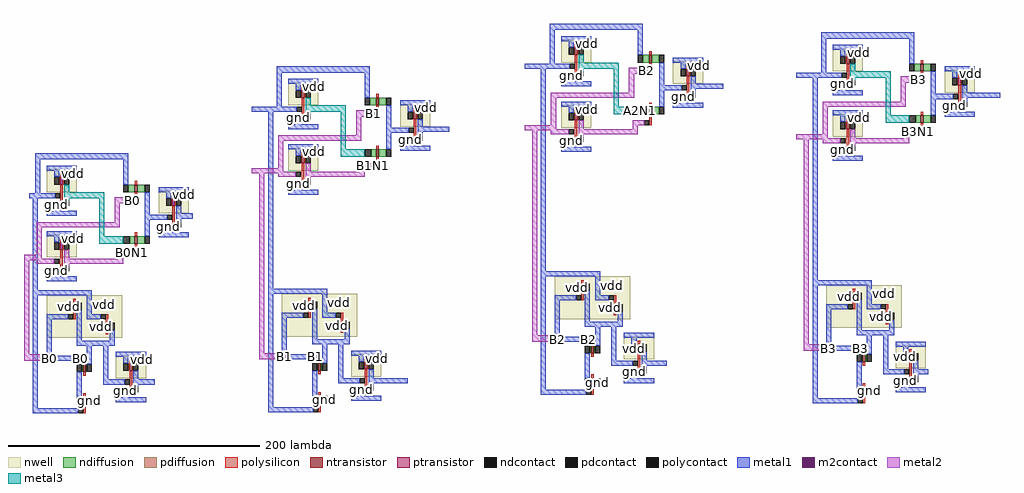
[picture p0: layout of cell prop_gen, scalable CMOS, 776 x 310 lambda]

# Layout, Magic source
magic
tech scmos
<< nwell >>
rect 1211 62 1235 80
rect 994 28 1018 46
rect 1300 45 1324 63
rect 1427 55 1451 73
rect 1516 38 1540 56
rect 1083 11 1107 29
rect 1211 10 1235 28
rect 1427 3 1451 21
rect 802 -41 826 -23
rect 994 -24 1018 -6
rect 891 -58 915 -40
rect 802 -93 826 -75
rect 802 -157 862 -123
rect 989 -156 1049 -122
rect 1206 -142 1266 -108
rect 1422 -149 1482 -115
rect 857 -189 881 -171
rect 1044 -188 1068 -170
rect 1261 -174 1285 -156
rect 1477 -181 1501 -163
<< ntransistor >>
rect 1281 62 1283 68
rect 1222 51 1224 54
rect 1497 55 1499 61
rect 1438 44 1440 47
rect 1064 28 1066 34
rect 1311 34 1313 37
rect 1005 17 1007 20
rect 1281 21 1283 27
rect 1527 27 1529 30
rect 1497 14 1499 20
rect 1094 0 1096 3
rect 1222 -1 1224 2
rect 1064 -13 1066 -7
rect 1438 -8 1440 -5
rect 872 -41 874 -35
rect 1005 -35 1007 -32
rect 813 -52 815 -49
rect 902 -69 904 -66
rect 872 -82 874 -76
rect 813 -104 815 -101
rect 1235 -169 1237 -163
rect 831 -184 833 -178
rect 1018 -183 1020 -177
rect 1451 -176 1453 -170
rect 1272 -185 1274 -182
rect 1235 -195 1237 -189
rect 1488 -192 1490 -189
rect 868 -200 870 -197
rect 1055 -199 1057 -196
rect 1451 -202 1453 -196
rect 831 -210 833 -204
rect 1018 -209 1020 -203
<< ptransistor >>
rect 1222 68 1224 74
rect 1438 61 1440 67
rect 1311 51 1313 57
rect 1005 34 1007 40
rect 1527 44 1529 50
rect 1094 17 1096 23
rect 1222 16 1224 22
rect 1438 9 1440 15
rect 1005 -18 1007 -12
rect 813 -35 815 -29
rect 902 -52 904 -46
rect 813 -87 815 -81
rect 1227 -120 1229 -114
rect 823 -135 825 -129
rect 1010 -134 1012 -128
rect 1443 -127 1445 -121
rect 1253 -136 1255 -130
rect 1469 -143 1471 -137
rect 849 -151 851 -145
rect 1036 -150 1038 -144
rect 1272 -168 1274 -162
rect 868 -183 870 -177
rect 1055 -182 1057 -176
rect 1488 -175 1490 -169
<< ndiffusion >>
rect 1276 62 1281 68
rect 1283 62 1289 68
rect 1221 51 1222 54
rect 1224 51 1225 54
rect 1492 55 1497 61
rect 1499 55 1505 61
rect 1437 44 1438 47
rect 1440 44 1441 47
rect 1059 28 1064 34
rect 1066 28 1072 34
rect 1310 34 1311 37
rect 1313 34 1314 37
rect 1004 17 1005 20
rect 1007 17 1008 20
rect 1277 21 1281 27
rect 1283 21 1289 27
rect 1526 27 1527 30
rect 1529 27 1530 30
rect 1493 14 1497 20
rect 1499 14 1505 20
rect 1093 0 1094 3
rect 1096 0 1097 3
rect 1221 -1 1222 2
rect 1224 -1 1225 2
rect 1060 -13 1064 -7
rect 1066 -13 1072 -7
rect 1437 -8 1438 -5
rect 1440 -8 1441 -5
rect 867 -41 872 -35
rect 874 -41 880 -35
rect 1004 -35 1005 -32
rect 1007 -35 1008 -32
rect 812 -52 813 -49
rect 815 -52 816 -49
rect 901 -69 902 -66
rect 904 -69 905 -66
rect 868 -82 872 -76
rect 874 -82 880 -76
rect 812 -104 813 -101
rect 815 -104 816 -101
rect 1234 -169 1235 -163
rect 1237 -169 1238 -163
rect 830 -184 831 -178
rect 833 -184 834 -178
rect 1017 -183 1018 -177
rect 1020 -183 1021 -177
rect 1450 -176 1451 -170
rect 1453 -176 1454 -170
rect 1271 -185 1272 -182
rect 1274 -185 1275 -182
rect 1234 -195 1235 -189
rect 1237 -195 1238 -189
rect 1487 -192 1488 -189
rect 1490 -192 1491 -189
rect 867 -200 868 -197
rect 870 -200 871 -197
rect 1054 -199 1055 -196
rect 1057 -199 1058 -196
rect 1450 -202 1451 -196
rect 1453 -202 1454 -196
rect 830 -210 831 -204
rect 833 -210 834 -204
rect 1017 -209 1018 -203
rect 1020 -209 1021 -203
<< pdiffusion >>
rect 1221 68 1222 74
rect 1224 68 1225 74
rect 1437 61 1438 67
rect 1440 61 1441 67
rect 1310 51 1311 57
rect 1313 51 1314 57
rect 1004 34 1005 40
rect 1007 34 1008 40
rect 1526 44 1527 50
rect 1529 44 1530 50
rect 1093 17 1094 23
rect 1096 17 1097 23
rect 1221 16 1222 22
rect 1224 16 1225 22
rect 1437 9 1438 15
rect 1440 9 1441 15
rect 1004 -18 1005 -12
rect 1007 -18 1008 -12
rect 812 -35 813 -29
rect 815 -35 816 -29
rect 901 -52 902 -46
rect 904 -52 905 -46
rect 812 -87 813 -81
rect 815 -87 816 -81
rect 1226 -120 1227 -114
rect 1229 -120 1230 -114
rect 822 -135 823 -129
rect 825 -135 826 -129
rect 1009 -134 1010 -128
rect 1012 -134 1013 -128
rect 1442 -127 1443 -121
rect 1445 -127 1446 -121
rect 1252 -136 1253 -130
rect 1255 -136 1256 -130
rect 1468 -143 1469 -137
rect 1471 -143 1472 -137
rect 848 -151 849 -145
rect 851 -151 852 -145
rect 1035 -150 1036 -144
rect 1038 -150 1039 -144
rect 1271 -168 1272 -162
rect 1274 -168 1275 -162
rect 867 -183 868 -177
rect 870 -183 871 -177
rect 1054 -182 1055 -176
rect 1057 -182 1058 -176
rect 1487 -175 1488 -169
rect 1490 -175 1491 -169
<< ndcontact >>
rect 1272 62 1276 68
rect 1289 62 1293 68
rect 1217 50 1221 54
rect 1225 51 1229 55
rect 1488 55 1492 61
rect 1505 55 1509 61
rect 1433 43 1437 47
rect 1441 44 1445 48
rect 1055 28 1059 34
rect 1072 28 1076 34
rect 1306 33 1310 37
rect 1314 34 1318 38
rect 1000 16 1004 20
rect 1008 17 1012 21
rect 1272 21 1277 27
rect 1289 21 1293 27
rect 1522 26 1526 30
rect 1530 27 1534 31
rect 1488 14 1493 20
rect 1505 14 1509 20
rect 1089 -1 1093 3
rect 1097 0 1101 4
rect 1217 -2 1221 2
rect 1225 -1 1229 3
rect 1055 -13 1060 -7
rect 1072 -13 1076 -7
rect 1433 -9 1437 -5
rect 1441 -8 1445 -4
rect 863 -41 867 -35
rect 880 -41 884 -35
rect 1000 -36 1004 -32
rect 1008 -35 1012 -31
rect 808 -53 812 -49
rect 816 -52 820 -48
rect 897 -70 901 -66
rect 905 -69 909 -65
rect 863 -82 868 -76
rect 880 -82 884 -76
rect 808 -105 812 -101
rect 816 -104 820 -100
rect 1230 -169 1234 -163
rect 1238 -169 1242 -163
rect 826 -184 830 -178
rect 834 -184 838 -178
rect 1013 -183 1017 -177
rect 1021 -183 1025 -177
rect 1446 -176 1450 -170
rect 1454 -176 1458 -170
rect 1267 -186 1271 -182
rect 1275 -185 1279 -181
rect 1230 -195 1234 -189
rect 1238 -195 1242 -189
rect 1483 -193 1487 -189
rect 1491 -192 1495 -188
rect 863 -201 867 -197
rect 871 -200 875 -196
rect 1050 -200 1054 -196
rect 1058 -199 1062 -195
rect 1446 -202 1450 -196
rect 1454 -202 1458 -196
rect 826 -210 830 -204
rect 834 -210 838 -204
rect 1013 -209 1017 -203
rect 1021 -209 1025 -203
<< pdcontact >>
rect 1217 68 1221 74
rect 1225 68 1229 74
rect 1433 61 1437 67
rect 1441 61 1445 67
rect 1306 51 1310 57
rect 1314 51 1318 57
rect 1000 34 1004 40
rect 1008 34 1012 40
rect 1522 44 1526 50
rect 1530 44 1534 50
rect 1089 17 1093 23
rect 1097 17 1101 23
rect 1217 16 1221 22
rect 1225 16 1229 22
rect 1433 9 1437 15
rect 1441 9 1445 15
rect 1000 -18 1004 -12
rect 1008 -18 1012 -12
rect 808 -35 812 -29
rect 816 -35 820 -29
rect 897 -52 901 -46
rect 905 -52 909 -46
rect 808 -87 812 -81
rect 816 -87 820 -81
rect 1222 -120 1226 -114
rect 1230 -120 1234 -114
rect 818 -135 822 -129
rect 826 -135 830 -129
rect 1005 -134 1009 -128
rect 1013 -134 1017 -128
rect 1438 -127 1442 -121
rect 1446 -127 1450 -121
rect 1248 -136 1252 -130
rect 1256 -136 1260 -130
rect 1464 -143 1468 -137
rect 1472 -143 1476 -137
rect 844 -151 848 -145
rect 852 -151 856 -145
rect 1031 -150 1035 -144
rect 1039 -150 1043 -144
rect 1267 -168 1271 -162
rect 1275 -168 1279 -162
rect 863 -183 867 -177
rect 871 -183 875 -177
rect 1050 -182 1054 -176
rect 1058 -182 1062 -176
rect 1483 -175 1487 -169
rect 1491 -175 1495 -169
<< polysilicon >>
rect 1222 74 1224 77
rect 1281 68 1283 71
rect 1222 54 1224 68
rect 1438 67 1440 70
rect 1281 53 1283 62
rect 1497 61 1499 64
rect 1311 57 1313 60
rect 1222 48 1224 51
rect 1005 40 1007 43
rect 1311 37 1313 51
rect 1438 47 1440 61
rect 1497 46 1499 55
rect 1527 50 1529 53
rect 1438 41 1440 44
rect 1064 34 1066 37
rect 1005 20 1007 34
rect 1311 31 1313 34
rect 1527 30 1529 44
rect 1064 19 1066 28
rect 1281 27 1283 30
rect 1094 23 1096 26
rect 1222 22 1224 25
rect 1005 14 1007 17
rect 1094 3 1096 17
rect 1527 24 1529 27
rect 1222 9 1224 16
rect 1281 12 1283 21
rect 1497 20 1499 23
rect 1438 15 1440 18
rect 1221 5 1224 9
rect 1222 2 1224 5
rect 1094 -3 1096 0
rect 1438 2 1440 9
rect 1497 5 1499 14
rect 1222 -4 1224 -1
rect 1437 -2 1440 2
rect 1064 -7 1066 -4
rect 1438 -5 1440 -2
rect 1005 -12 1007 -9
rect 1438 -11 1440 -8
rect 1005 -25 1007 -18
rect 1064 -22 1066 -13
rect 813 -29 815 -26
rect 1004 -29 1007 -25
rect 1005 -32 1007 -29
rect 872 -35 874 -32
rect 813 -49 815 -35
rect 1005 -38 1007 -35
rect 872 -50 874 -41
rect 902 -46 904 -43
rect 813 -55 815 -52
rect 902 -66 904 -52
rect 902 -72 904 -69
rect 872 -76 874 -73
rect 813 -81 815 -78
rect 813 -94 815 -87
rect 872 -91 874 -82
rect 812 -98 815 -94
rect 813 -101 815 -98
rect 813 -107 815 -104
rect 1227 -114 1229 -111
rect 823 -129 825 -126
rect 1010 -128 1012 -125
rect 1227 -127 1229 -120
rect 1443 -121 1445 -118
rect 1253 -130 1255 -123
rect 823 -142 825 -135
rect 849 -145 851 -138
rect 1010 -141 1012 -134
rect 1443 -134 1445 -127
rect 1036 -144 1038 -137
rect 1253 -139 1255 -136
rect 1469 -137 1471 -130
rect 1469 -146 1471 -143
rect 849 -154 851 -151
rect 1036 -153 1038 -150
rect 1235 -163 1237 -156
rect 1272 -162 1274 -159
rect 831 -178 833 -171
rect 868 -177 870 -174
rect 1018 -177 1020 -170
rect 1235 -172 1237 -169
rect 1055 -176 1057 -173
rect 1272 -182 1274 -168
rect 1451 -170 1453 -163
rect 1488 -169 1490 -166
rect 1451 -179 1453 -176
rect 831 -187 833 -184
rect 868 -197 870 -183
rect 1018 -186 1020 -183
rect 1055 -196 1057 -182
rect 1235 -189 1237 -186
rect 1272 -188 1274 -185
rect 1488 -189 1490 -175
rect 831 -204 833 -201
rect 868 -203 870 -200
rect 1018 -203 1020 -200
rect 1055 -202 1057 -199
rect 1235 -202 1237 -195
rect 1451 -196 1453 -193
rect 1488 -195 1490 -192
rect 1451 -209 1453 -202
rect 831 -217 833 -210
rect 1018 -216 1020 -209
<< polycontact >>
rect 1218 57 1222 61
rect 1277 53 1281 58
rect 1307 40 1311 44
rect 1434 50 1438 54
rect 1493 46 1497 51
rect 1001 23 1005 27
rect 1523 33 1527 37
rect 1060 19 1064 24
rect 1090 6 1094 10
rect 1277 12 1281 16
rect 1217 5 1221 9
rect 1493 5 1497 9
rect 1433 -2 1437 2
rect 1060 -22 1064 -18
rect 1000 -29 1004 -25
rect 809 -46 813 -42
rect 868 -50 872 -45
rect 898 -63 902 -59
rect 868 -91 872 -87
rect 808 -98 812 -94
rect 1223 -127 1227 -123
rect 1249 -127 1253 -123
rect 819 -142 823 -138
rect 845 -142 849 -138
rect 1006 -141 1010 -137
rect 1439 -134 1443 -130
rect 1465 -134 1469 -130
rect 1032 -141 1036 -137
rect 1231 -160 1235 -156
rect 1447 -167 1451 -163
rect 827 -175 831 -171
rect 1014 -174 1018 -170
rect 1268 -179 1272 -175
rect 864 -194 868 -190
rect 1051 -193 1055 -189
rect 1484 -186 1488 -182
rect 1231 -202 1235 -198
rect 1447 -209 1451 -205
rect 827 -217 831 -213
rect 1014 -216 1018 -212
<< metal1 >>
rect 1202 88 1276 93
rect 1202 61 1206 88
rect 1211 79 1235 83
rect 1217 74 1221 79
rect 1272 68 1276 88
rect 1418 81 1492 86
rect 1300 62 1324 66
rect 985 54 1059 59
rect 1182 57 1218 61
rect 985 27 989 54
rect 994 45 1018 49
rect 1000 40 1004 45
rect 1055 34 1059 54
rect 1083 28 1107 32
rect 965 23 1001 27
rect 793 -15 867 -10
rect 793 -42 797 -15
rect 802 -24 826 -20
rect 808 -29 812 -24
rect 863 -35 867 -15
rect 891 -41 915 -37
rect 788 -46 809 -42
rect 791 -119 795 -46
rect 808 -56 812 -53
rect 802 -60 826 -56
rect 880 -59 884 -41
rect 897 -46 901 -41
rect 905 -58 909 -52
rect 880 -63 898 -59
rect 905 -62 918 -58
rect 802 -76 826 -72
rect 880 -76 884 -63
rect 905 -65 909 -62
rect 897 -73 901 -70
rect 808 -81 812 -76
rect 891 -77 915 -73
rect 808 -108 812 -105
rect 802 -112 826 -108
rect 978 -118 982 23
rect 1000 13 1004 16
rect 994 9 1018 13
rect 1072 10 1076 28
rect 1089 23 1093 28
rect 1097 11 1101 17
rect 1072 6 1090 10
rect 1097 7 1122 11
rect 994 -7 1018 -3
rect 1072 -7 1076 6
rect 1097 4 1101 7
rect 1089 -4 1093 -1
rect 1000 -12 1004 -7
rect 1083 -8 1107 -4
rect 1000 -39 1004 -36
rect 994 -43 1018 -39
rect 1195 -104 1199 57
rect 1217 47 1221 50
rect 1211 43 1235 47
rect 1289 44 1293 62
rect 1306 57 1310 62
rect 1418 54 1422 81
rect 1427 72 1451 76
rect 1433 67 1437 72
rect 1488 61 1492 81
rect 1516 55 1540 59
rect 1314 45 1318 51
rect 1398 50 1434 54
rect 1289 40 1307 44
rect 1314 41 1340 45
rect 1211 27 1235 31
rect 1289 27 1293 40
rect 1314 38 1318 41
rect 1306 30 1310 33
rect 1217 22 1221 27
rect 1300 26 1324 30
rect 1217 -5 1221 -2
rect 1211 -9 1235 -5
rect 1195 -108 1242 -104
rect 791 -123 838 -119
rect 791 -213 795 -123
rect 802 -142 819 -138
rect 802 -170 806 -142
rect 826 -159 830 -135
rect 834 -138 838 -123
rect 978 -122 1025 -118
rect 834 -142 845 -138
rect 852 -159 856 -151
rect 826 -163 856 -159
rect 807 -175 827 -171
rect 834 -178 838 -163
rect 826 -204 830 -184
rect 847 -190 851 -163
rect 857 -172 881 -168
rect 863 -177 867 -172
rect 871 -190 875 -183
rect 847 -194 864 -190
rect 871 -194 888 -190
rect 871 -196 875 -194
rect 863 -204 867 -201
rect 857 -208 881 -204
rect 978 -212 982 -122
rect 989 -141 1006 -137
rect 989 -169 993 -141
rect 1013 -158 1017 -134
rect 1021 -137 1025 -122
rect 1021 -141 1032 -137
rect 1039 -158 1043 -150
rect 1013 -162 1043 -158
rect 994 -174 1014 -170
rect 1021 -177 1025 -162
rect 1013 -203 1017 -183
rect 1034 -189 1038 -162
rect 1044 -171 1068 -167
rect 1050 -176 1054 -171
rect 1058 -189 1062 -182
rect 1034 -193 1051 -189
rect 1058 -193 1089 -189
rect 1058 -195 1062 -193
rect 1195 -198 1199 -108
rect 1206 -127 1223 -123
rect 1206 -155 1210 -127
rect 1230 -144 1234 -120
rect 1238 -123 1242 -108
rect 1411 -111 1415 50
rect 1433 40 1437 43
rect 1427 36 1451 40
rect 1505 37 1509 55
rect 1522 50 1526 55
rect 1530 38 1534 44
rect 1505 33 1523 37
rect 1530 34 1560 38
rect 1427 20 1451 24
rect 1505 20 1509 33
rect 1530 31 1534 34
rect 1522 23 1526 26
rect 1433 15 1437 20
rect 1516 19 1540 23
rect 1433 -12 1437 -9
rect 1427 -16 1451 -12
rect 1411 -115 1458 -111
rect 1238 -127 1249 -123
rect 1256 -144 1260 -136
rect 1230 -148 1260 -144
rect 1211 -160 1231 -156
rect 1238 -163 1242 -148
rect 1230 -189 1234 -169
rect 1251 -175 1255 -148
rect 1261 -157 1285 -153
rect 1267 -162 1271 -157
rect 1275 -175 1279 -168
rect 1251 -179 1268 -175
rect 1275 -179 1295 -175
rect 1275 -181 1279 -179
rect 1267 -189 1271 -186
rect 1261 -193 1285 -189
rect 1050 -203 1054 -200
rect 1195 -202 1231 -198
rect 1044 -207 1068 -203
rect 1411 -205 1415 -115
rect 1422 -134 1439 -130
rect 1422 -162 1426 -134
rect 1446 -151 1450 -127
rect 1454 -130 1458 -115
rect 1454 -134 1465 -130
rect 1472 -151 1476 -143
rect 1446 -155 1476 -151
rect 1427 -167 1447 -163
rect 1454 -170 1458 -155
rect 1446 -196 1450 -176
rect 1467 -182 1471 -155
rect 1477 -164 1501 -160
rect 1483 -169 1487 -164
rect 1491 -182 1495 -175
rect 1467 -186 1484 -182
rect 1491 -186 1503 -182
rect 1491 -188 1495 -186
rect 1483 -196 1487 -193
rect 1477 -200 1501 -196
rect 1411 -209 1447 -205
rect 791 -217 827 -213
rect 978 -216 1014 -212
<< m2contact >>
rect 802 -175 807 -170
rect 989 -174 994 -169
rect 1206 -160 1211 -155
rect 1422 -167 1427 -162
<< metal2 >>
rect 1265 53 1277 58
rect 1265 38 1269 53
rect 1203 34 1269 38
rect 1481 46 1493 51
rect 1048 19 1060 24
rect 1048 4 1052 19
rect 1203 12 1207 34
rect 1481 31 1485 46
rect 1419 27 1485 31
rect 1182 9 1207 12
rect 1225 9 1229 16
rect 1268 12 1277 16
rect 1268 9 1272 12
rect 1182 8 1217 9
rect 986 0 1052 4
rect 986 -22 990 0
rect 965 -25 990 -22
rect 1008 -25 1012 -18
rect 1051 -22 1060 -18
rect 1051 -25 1055 -22
rect 965 -26 1000 -25
rect 856 -50 868 -45
rect 856 -65 860 -50
rect 794 -69 860 -65
rect 794 -91 798 -69
rect 784 -94 798 -91
rect 816 -94 820 -87
rect 859 -91 868 -87
rect 859 -94 863 -91
rect 784 -95 808 -94
rect 784 -170 788 -95
rect 794 -98 808 -95
rect 816 -98 863 -94
rect 816 -100 820 -98
rect 971 -169 975 -26
rect 986 -29 1000 -26
rect 1008 -29 1055 -25
rect 1008 -31 1012 -29
rect 1188 -155 1192 8
rect 1203 5 1217 8
rect 1225 5 1272 9
rect 1419 5 1423 27
rect 1225 3 1229 5
rect 1398 2 1423 5
rect 1441 2 1445 9
rect 1484 5 1493 9
rect 1484 2 1488 5
rect 1398 1 1433 2
rect 1188 -160 1206 -155
rect 1404 -162 1408 1
rect 1419 -2 1433 1
rect 1441 -2 1488 2
rect 1441 -4 1445 -2
rect 1404 -167 1422 -162
rect 784 -175 802 -170
rect 971 -174 989 -169
<< metal3 >>
rect 1225 62 1229 68
rect 1225 57 1257 62
rect 1225 55 1229 57
rect 1008 28 1012 34
rect 1008 23 1040 28
rect 1008 21 1012 23
rect 1036 -7 1040 23
rect 1253 27 1257 57
rect 1441 55 1445 61
rect 1441 50 1473 55
rect 1441 48 1445 50
rect 1253 21 1272 27
rect 1469 20 1473 50
rect 1469 14 1488 20
rect 1036 -13 1055 -7
rect 816 -41 820 -35
rect 816 -46 848 -41
rect 816 -48 820 -46
rect 844 -76 848 -46
rect 844 -82 863 -76
<< labels >>
rlabel nwell 1014 42 1016 44 1 vdd
rlabel pdcontact 1000 34 1004 40 1 vdd
rlabel nwell 1014 -10 1016 -8 1 vdd
rlabel pdcontact 1000 -18 1004 -12 1 vdd
rlabel nwell 1103 25 1105 27 1 vdd
rlabel pdcontact 1089 17 1093 23 1 vdd
rlabel ndcontact 1089 -1 1093 3 1 gnd
rlabel ndcontact 1000 16 1004 20 1 gnd
rlabel ndcontact 1000 -36 1004 -32 1 gnd
rlabel polycontact 1000 -29 1004 -25 1 B1
rlabel ndcontact 1008 -35 1012 -31 1 B1N1
rlabel pdcontact 1008 -18 1012 -12 1 B1N1
rlabel polycontact 1001 23 1005 27 1 A1
rlabel ndcontact 1008 17 1012 21 1 A1N1
rlabel pdcontact 1008 34 1012 40 1 A1N1
rlabel polycontact 1060 -22 1064 -18 1 B1N1
rlabel ndcontact 1055 -13 1059 -8 1 A1N1
rlabel polycontact 1060 19 1064 24 1 B1
rlabel ndcontact 1055 28 1059 33 1 A1
rlabel ndcontact 1072 -12 1076 -8 1 X1
rlabel ndcontact 1072 29 1076 33 1 X1
rlabel polycontact 1090 6 1094 10 1 X1
rlabel pdcontact 1097 17 1101 23 1 P1
rlabel ndcontact 1097 0 1101 4 1 P1
rlabel pdcontact 1031 -150 1035 -144 1 vdd
rlabel pdcontact 1005 -134 1009 -128 1 vdd
rlabel ndcontact 1021 -209 1025 -203 1 gnd
rlabel nwell 1033 -131 1037 -127 1 vdd
rlabel nwell 1064 -174 1066 -172 1 vdd
rlabel pdcontact 1050 -182 1054 -176 1 vdd
rlabel ndcontact 1050 -200 1054 -196 1 gnd
rlabel m2contact 989 -174 993 -170 1 B1
rlabel polycontact 1014 -216 1018 -212 1 A1
rlabel polycontact 1032 -141 1036 -137 1 A1
rlabel polycontact 1014 -174 1018 -170 1 B1
rlabel polycontact 1006 -141 1010 -137 1 B1
rlabel pdcontact 1013 -133 1017 -129 1 M2
rlabel ndcontact 1021 -182 1025 -178 1 M2
rlabel pdcontact 1039 -150 1043 -146 1 M2
rlabel polycontact 1051 -193 1055 -189 1 M2
rlabel ndcontact 1013 -208 1017 -204 1 K2
rlabel ndcontact 1013 -182 1017 -178 1 K2
rlabel pdcontact 1058 -182 1062 -176 1 G1
rlabel ndcontact 1058 -199 1062 -195 1 G1
rlabel nwell 1231 76 1233 78 1 vdd
rlabel pdcontact 1217 68 1221 74 1 vdd
rlabel nwell 1231 24 1233 26 1 vdd
rlabel pdcontact 1217 16 1221 22 1 vdd
rlabel nwell 1320 59 1322 61 1 vdd
rlabel pdcontact 1306 51 1310 57 1 vdd
rlabel ndcontact 1306 33 1310 37 1 gnd
rlabel ndcontact 1217 50 1221 54 1 gnd
rlabel ndcontact 1217 -2 1221 2 1 gnd
rlabel polycontact 1217 5 1221 9 1 B2
rlabel pdcontact 1225 16 1229 22 1 B2N1
rlabel ndcontact 1225 -1 1229 3 1 B2N1
rlabel polycontact 1218 57 1222 61 1 A2
rlabel ndcontact 1225 51 1229 55 1 A2N1
rlabel pdcontact 1225 68 1229 74 1 A2N1
rlabel ndcontact 1272 21 1276 27 1 A2N1
rlabel polycontact 1277 12 1281 16 1 B2N1
rlabel polycontact 1277 53 1281 58 1 B2
rlabel ndcontact 1272 62 1276 67 1 A2
rlabel ndcontact 1289 22 1293 27 1 X2
rlabel ndcontact 1289 63 1293 68 1 X2
rlabel polycontact 1307 40 1311 44 1 X2
rlabel ndcontact 1314 34 1318 38 1 P2
rlabel pdcontact 1314 51 1318 57 1 P2
rlabel ndcontact 1267 -186 1271 -182 1 gnd
rlabel pdcontact 1267 -168 1271 -162 1 vdd
rlabel nwell 1281 -160 1283 -158 1 vdd
rlabel nwell 1250 -117 1254 -113 1 vdd
rlabel ndcontact 1238 -195 1242 -189 1 gnd
rlabel pdcontact 1222 -120 1226 -114 1 vdd
rlabel pdcontact 1248 -136 1252 -130 1 vdd
rlabel m2contact 1206 -160 1210 -156 1 B2
rlabel polycontact 1231 -160 1235 -156 1 B2
rlabel polycontact 1223 -127 1227 -123 1 B2
rlabel polycontact 1231 -202 1235 -198 1 A2
rlabel polycontact 1249 -127 1253 -123 1 A2
rlabel pdcontact 1230 -119 1234 -115 1 M3
rlabel ndcontact 1238 -168 1242 -164 1 M3
rlabel pdcontact 1256 -136 1260 -132 1 M3
rlabel polycontact 1268 -179 1272 -175 1 M3
rlabel ndcontact 1230 -168 1234 -164 1 K3
rlabel ndcontact 1230 -194 1234 -190 1 K3
rlabel ndcontact 1275 -185 1279 -181 1 G2
rlabel pdcontact 1275 -168 1279 -162 1 G2
rlabel nwell 1447 69 1449 71 1 vdd
rlabel pdcontact 1433 61 1437 67 1 vdd
rlabel nwell 1447 17 1449 19 1 vdd
rlabel pdcontact 1433 9 1437 15 1 vdd
rlabel nwell 1536 52 1538 54 1 vdd
rlabel pdcontact 1522 44 1526 50 1 vdd
rlabel ndcontact 1522 26 1526 30 1 gnd
rlabel ndcontact 1433 43 1437 47 1 gnd
rlabel ndcontact 1433 -9 1437 -5 1 gnd
rlabel ndcontact 1483 -193 1487 -189 1 gnd
rlabel pdcontact 1483 -175 1487 -169 1 vdd
rlabel nwell 1497 -167 1499 -165 1 vdd
rlabel nwell 1466 -124 1470 -120 1 vdd
rlabel ndcontact 1454 -202 1458 -196 1 gnd
rlabel pdcontact 1438 -127 1442 -121 1 vdd
rlabel pdcontact 1464 -143 1468 -137 1 vdd
rlabel polycontact 1433 -2 1437 2 1 B3
rlabel m2contact 1422 -167 1426 -163 1 B3
rlabel polycontact 1447 -167 1451 -163 1 B3
rlabel polycontact 1439 -134 1443 -130 1 B3
rlabel polycontact 1493 46 1497 51 1 B3
rlabel polycontact 1434 50 1438 54 1 A3
rlabel ndcontact 1488 55 1492 60 1 A3
rlabel polycontact 1465 -134 1469 -130 1 A3
rlabel polycontact 1447 -209 1451 -205 1 A3
rlabel pdcontact 1446 -126 1450 -122 1 M4
rlabel ndcontact 1454 -175 1458 -171 1 M4
rlabel pdcontact 1472 -143 1476 -139 1 M4
rlabel polycontact 1484 -186 1488 -182 1 M4
rlabel ndcontact 1446 -175 1450 -171 1 K4
rlabel ndcontact 1446 -201 1450 -197 1 K4
rlabel ndcontact 1491 -192 1495 -188 1 G3
rlabel pdcontact 1491 -175 1495 -169 1 G3
rlabel pdcontact 1441 9 1445 15 1 B3N1
rlabel ndcontact 1441 -8 1445 -4 1 B3N1
rlabel polycontact 1493 5 1497 9 1 B3N1
rlabel ndcontact 1441 44 1445 48 1 A3N1
rlabel pdcontact 1441 61 1445 67 1 A3N1
rlabel ndcontact 1488 14 1492 20 1 A3N1
rlabel ndcontact 1505 14 1509 20 1 X3
rlabel ndcontact 1505 55 1509 61 1 X3
rlabel polycontact 1523 33 1527 37 1 X3
rlabel ndcontact 1530 27 1534 31 1 P3
rlabel pdcontact 1530 44 1534 50 1 P3
rlabel nwell 822 -27 824 -25 1 vdd
rlabel pdcontact 808 -35 812 -29 1 vdd
rlabel nwell 822 -79 824 -77 1 vdd
rlabel pdcontact 808 -87 812 -81 1 vdd
rlabel nwell 911 -44 913 -42 1 vdd
rlabel pdcontact 897 -52 901 -46 1 vdd
rlabel ndcontact 897 -70 901 -66 1 gnd
rlabel ndcontact 808 -53 812 -49 1 gnd
rlabel ndcontact 808 -105 812 -101 1 gnd
rlabel polycontact 809 -46 813 -42 1 A0
rlabel ndcontact 816 -52 820 -48 1 A0N1
rlabel pdcontact 816 -35 820 -29 1 A0N1
rlabel polycontact 808 -98 812 -94 1 B0
rlabel ndcontact 816 -104 820 -100 1 B0N1
rlabel pdcontact 816 -87 820 -81 1 B0N1
rlabel polycontact 868 -91 872 -87 1 B0N1
rlabel ndcontact 863 -82 867 -77 1 A0N1
rlabel polycontact 868 -50 872 -45 1 B0
rlabel ndcontact 863 -41 867 -36 1 A0
rlabel ndcontact 880 -40 884 -36 1 X0
rlabel ndcontact 880 -81 884 -77 1 X0
rlabel polycontact 898 -63 902 -59 1 X0
rlabel pdcontact 905 -52 909 -46 1 P0
rlabel ndcontact 905 -69 909 -65 1 P0
rlabel pdcontact 844 -151 848 -145 1 vdd
rlabel pdcontact 818 -135 822 -129 1 vdd
rlabel ndcontact 834 -210 838 -204 1 gnd
rlabel nwell 846 -132 850 -128 1 vdd
rlabel nwell 877 -175 879 -173 1 vdd
rlabel pdcontact 863 -183 867 -177 1 vdd
rlabel ndcontact 863 -201 867 -197 1 gnd
rlabel polycontact 845 -142 849 -138 1 A0
rlabel polycontact 827 -217 831 -213 1 A0
rlabel m2contact 802 -175 806 -171 1 B0
rlabel polycontact 827 -175 831 -171 1 B0
rlabel polycontact 819 -142 823 -138 1 B0
rlabel pdcontact 826 -134 830 -130 1 M0
rlabel ndcontact 834 -183 838 -179 1 M0
rlabel polycontact 864 -194 868 -190 1 M0
rlabel ndcontact 826 -183 830 -179 1 K0
rlabel ndcontact 826 -209 830 -205 1 K0
rlabel ndcontact 871 -200 875 -196 1 G0
rlabel pdcontact 871 -183 875 -177 1 G0
rlabel pdcontact 852 -151 856 -147 1 M0
<< end >>
